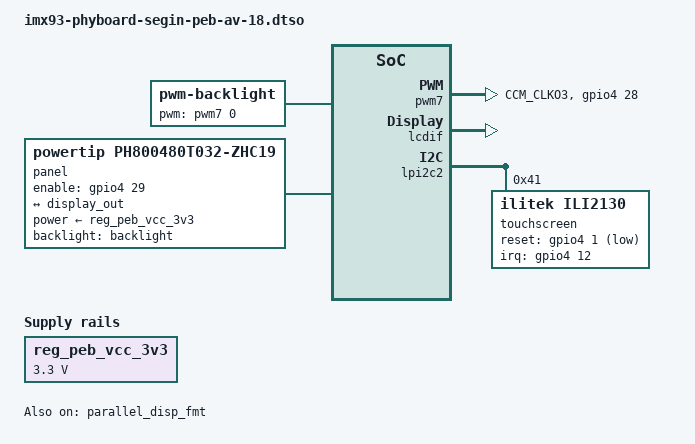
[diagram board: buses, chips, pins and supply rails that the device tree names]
// SPDX-License-Identifier: GPL-2.0
/*
 * Copyright (C) 2026 PHYTEC Messtechnik GmbH
 * Author: Florijan Plohl <florijan.plohl@norik.com>
 */

#include <dt-bindings/gpio/gpio.h>
#include <dt-bindings/interrupt-controller/arm-gic.h>
#include "imx93-pinfunc.h"

/dts-v1/;
/plugin/;

&{/} {
	backlight: backlight {
		compatible = "pwm-backlight";
		brightness-levels = <0 4 8 16 32 64 128 255>;
		default-brightness-level = <5>;
		power-suppy = <&reg_peb_vcc_3v3>;
		pwms = <&pwm7 0 5000000 0>;
	};

	panel {
		compatible = "powertip,ph800480t032-zhc19";
		pinctrl-names = "default";
		pinctrl-0 = <&pinctrl_panel>;
		backlight = <&backlight>;
		enable-gpios = <&gpio4 29 GPIO_ACTIVE_HIGH>;
		power-supply = <&reg_peb_vcc_3v3>;

		port {
			panel_in: endpoint {
				remote-endpoint = <&display_out>;
			};
		};
	};

	pwm7: pwm-7 {
		compatible = "pwm-gpio";
		pinctrl-names = "default";
		pinctrl-0 = <&pinctrl_pwm7>;
		gpios = <&gpio4 28 GPIO_ACTIVE_HIGH>;
		#pwm-cells = <3>;
	};

	reg_peb_vcc_3v3: regulator-peb-vcc-3v3 {
		compatible = "regulator-fixed";
		regulator-name = "VCC3V3";
		regulator-max-microvolt = <3300000>;
		regulator-min-microvolt = <3300000>;
	};
};

&lcdif {
	assigned-clock-rates = <300000000>, <27272728>, <400000000>, <133333333>;
	status = "okay";
};

&parallel_disp_fmt {
	pinctrl-names = "default";
	pinctrl-0 = <&pinctrl_lcdif>;
	fsl,interface-pix-fmt = "rgb666";
	status = "okay";

	ports {
		#address-cells = <1>;
		#size-cells = <0>;

		port@1 {
			reg = <1>;

			display_out: endpoint {
				remote-endpoint = <&panel_in>;
			};
		};
	};
};

&lpi2c2 {
	#address-cells = <1>;
	#size-cells = <0>;

	touchscreen@41 {
		compatible = "ilitek,ili2130";
		reg = <0x41>;
		pinctrl-names = "default";
		pinctrl-0 = <&pinctrl_touchscreen>;
		interrupt-parent = <&gpio4>;
		interrupts = <12 IRQ_TYPE_EDGE_FALLING>;
		reset-gpios = <&gpio4 1 GPIO_ACTIVE_LOW>;
		touchscreen-size-x = <800>;
		touchscreen-size-y = <480>;
		wakeup-source;
		status = "okay";
	};
};

&iomuxc {
	pinctrl_lcdif: lcdifgrp {
		fsl,pins = <
			MX93_PAD_GPIO_IO00__MEDIAMIX_DISP_CLK		0x57e
			MX93_PAD_GPIO_IO01__MEDIAMIX_DISP_DE		0x51e
			MX93_PAD_GPIO_IO02__MEDIAMIX_DISP_VSYNC		0x51e
			MX93_PAD_GPIO_IO03__MEDIAMIX_DISP_HSYNC		0x51e
			MX93_PAD_GPIO_IO04__MEDIAMIX_DISP_DATA00	0x51e
			MX93_PAD_GPIO_IO05__MEDIAMIX_DISP_DATA01	0x51e
			MX93_PAD_GPIO_IO06__MEDIAMIX_DISP_DATA02	0x51e
			MX93_PAD_GPIO_IO07__MEDIAMIX_DISP_DATA03	0x51e
			MX93_PAD_GPIO_IO08__MEDIAMIX_DISP_DATA04	0x51e
			MX93_PAD_GPIO_IO09__MEDIAMIX_DISP_DATA05	0x51e
			MX93_PAD_GPIO_IO10__MEDIAMIX_DISP_DATA06	0x51e
			MX93_PAD_GPIO_IO11__MEDIAMIX_DISP_DATA07	0x51e
			MX93_PAD_GPIO_IO12__MEDIAMIX_DISP_DATA08	0x51e
			MX93_PAD_GPIO_IO13__MEDIAMIX_DISP_DATA09	0x51e
			MX93_PAD_GPIO_IO14__MEDIAMIX_DISP_DATA10	0x51e
			MX93_PAD_GPIO_IO15__MEDIAMIX_DISP_DATA11	0x51e
			MX93_PAD_GPIO_IO16__MEDIAMIX_DISP_DATA12	0x51e
			MX93_PAD_GPIO_IO17__MEDIAMIX_DISP_DATA13	0x51e
			MX93_PAD_GPIO_IO18__MEDIAMIX_DISP_DATA14	0x51e
			MX93_PAD_GPIO_IO19__MEDIAMIX_DISP_DATA15	0x51e
			MX93_PAD_GPIO_IO20__MEDIAMIX_DISP_DATA16	0x51e
			MX93_PAD_GPIO_IO21__MEDIAMIX_DISP_DATA17	0x51e
		>;
	};

	pinctrl_panel: panelgrp {
		fsl,pins = <
			MX93_PAD_CCM_CLKO4__GPIO4_IO29			0x1133e
		>;
	};

	pinctrl_pwm7: pwm7grp {
		fsl,pins = <
			MX93_PAD_CCM_CLKO3__GPIO4_IO28			0x1133e
		>;
	};

	pinctrl_touchscreen: touchscreengrp {
		fsl,pins = <
			MX93_PAD_ENET1_MDIO__GPIO4_IO01			0x11e
			MX93_PAD_ENET1_RD2__GPIO4_IO12			0x1133e
		>;
	};
};
